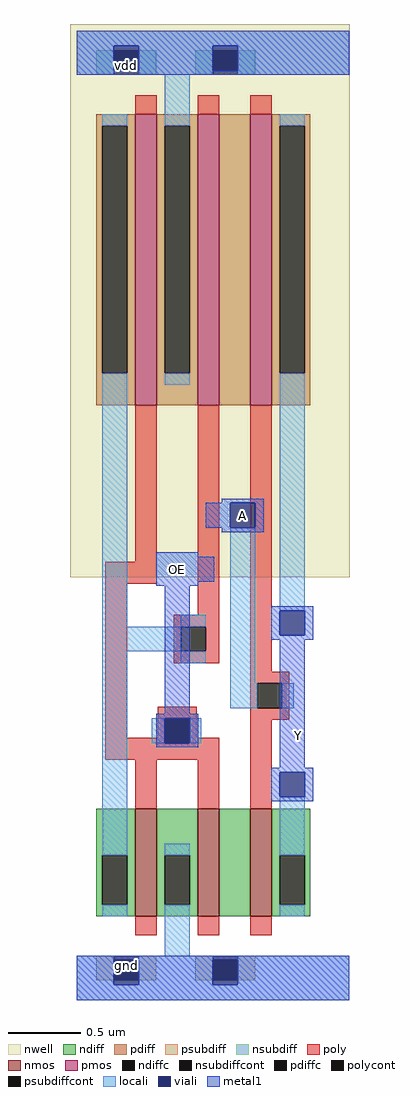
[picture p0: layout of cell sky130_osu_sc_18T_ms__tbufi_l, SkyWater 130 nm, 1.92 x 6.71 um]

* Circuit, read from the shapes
.subckt sky130_osu_sc_18T_ms__tbufi_l Y A OE
XM1 gnd OE n1 gnd sky130_fd_pr__nfet_01v8 w=0.74 l=0.15
XM2 n2 OE gnd gnd sky130_fd_pr__nfet_01v8 w=0.74 l=0.15
XM3 Y A n2 gnd sky130_fd_pr__nfet_01v8 w=0.74 l=0.15
XM4 vdd OE n1 vdd sky130_fd_pr__pfet_01v8 w=2 l=0.15
XM5 n3 n1 vdd vdd sky130_fd_pr__pfet_01v8 w=2 l=0.15
XM6 Y A n3 vdd sky130_fd_pr__pfet_01v8 w=2 l=0.15
.ends

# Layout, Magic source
magic
tech sky130A
magscale 1 2
<< nwell >>
rect -9 581 375 1341
<< nmos >>
rect 80 115 110 263
rect 166 115 196 263
rect 238 115 268 263
<< pmos >>
rect 80 817 110 1217
rect 166 817 196 1217
rect 238 817 268 1217
<< ndiff >>
rect 27 199 80 263
rect 27 131 35 199
rect 69 131 80 199
rect 27 115 80 131
rect 110 199 166 263
rect 110 131 121 199
rect 155 131 166 199
rect 110 115 166 131
rect 196 115 238 263
rect 268 199 321 263
rect 268 131 279 199
rect 313 131 321 199
rect 268 115 321 131
<< pdiff >>
rect 27 1201 80 1217
rect 27 861 35 1201
rect 69 861 80 1201
rect 27 817 80 861
rect 110 1201 166 1217
rect 110 861 121 1201
rect 155 861 166 1201
rect 110 817 166 861
rect 196 817 238 1217
rect 268 1201 321 1217
rect 268 861 279 1201
rect 313 861 321 1201
rect 268 817 321 861
<< ndiffc >>
rect 35 131 69 199
rect 121 131 155 199
rect 279 131 313 199
<< pdiffc >>
rect 35 861 69 1201
rect 121 861 155 1201
rect 279 861 313 1201
<< psubdiff >>
rect 27 27 51 61
rect 85 27 109 61
rect 163 27 187 61
rect 221 27 245 61
<< nsubdiff >>
rect 27 1271 51 1305
rect 85 1271 109 1305
rect 163 1271 187 1305
rect 221 1271 245 1305
<< psubdiffcont >>
rect 51 27 85 61
rect 187 27 221 61
<< nsubdiffcont >>
rect 51 1271 85 1305
rect 187 1271 221 1305
<< poly >>
rect 80 1217 110 1243
rect 166 1217 196 1243
rect 238 1217 268 1243
rect 80 602 110 817
rect 39 572 110 602
rect 39 360 69 572
rect 166 529 196 817
rect 133 513 196 529
rect 133 479 143 513
rect 177 479 196 513
rect 133 463 196 479
rect 238 451 268 817
rect 238 435 292 451
rect 111 387 165 403
rect 111 360 121 387
rect 39 353 121 360
rect 155 360 165 387
rect 238 401 248 435
rect 282 401 292 435
rect 238 385 292 401
rect 155 353 196 360
rect 39 330 196 353
rect 80 263 110 330
rect 166 263 196 330
rect 238 263 268 385
rect 80 89 110 115
rect 166 89 196 115
rect 238 89 268 115
<< polycont >>
rect 143 479 177 513
rect 121 353 155 387
rect 248 401 282 435
<< locali >>
rect 0 1311 374 1332
rect 0 1271 51 1311
rect 85 1271 187 1311
rect 221 1271 374 1311
rect 35 1201 69 1217
rect 35 513 69 861
rect 121 1201 155 1271
rect 121 845 155 861
rect 279 1201 313 1217
rect 143 513 177 529
rect 35 479 143 513
rect 35 199 69 479
rect 143 463 177 479
rect 211 435 245 649
rect 279 535 313 861
rect 211 401 248 435
rect 282 401 298 435
rect 103 353 121 387
rect 155 353 171 387
rect 35 115 69 131
rect 121 199 155 215
rect 121 61 155 131
rect 279 199 313 279
rect 279 115 313 131
rect 0 21 51 61
rect 85 21 187 61
rect 221 21 374 61
rect 0 0 374 21
<< viali >>
rect 51 1305 85 1311
rect 51 1277 85 1305
rect 187 1305 221 1311
rect 187 1277 221 1305
rect 211 649 245 683
rect 279 501 313 535
rect 121 353 155 387
rect 279 279 313 313
rect 51 27 85 55
rect 51 21 85 27
rect 187 27 221 55
rect 187 21 221 27
<< metal1 >>
rect 0 1311 374 1332
rect 0 1277 51 1311
rect 85 1277 187 1311
rect 221 1277 374 1311
rect 0 1271 374 1277
rect 199 683 257 689
rect 177 649 211 683
rect 245 649 257 683
rect 199 643 257 649
rect 109 609 167 615
rect 109 575 189 609
rect 109 569 167 575
rect 121 393 155 569
rect 267 535 325 541
rect 267 501 279 535
rect 313 501 325 535
rect 267 495 325 501
rect 109 387 167 393
rect 109 353 121 387
rect 155 353 167 387
rect 109 347 167 353
rect 279 319 313 495
rect 267 313 325 319
rect 267 279 279 313
rect 313 279 325 313
rect 267 273 325 279
rect 0 55 374 61
rect 0 21 51 55
rect 85 21 187 55
rect 221 21 374 55
rect 0 0 374 21
<< labels >>
rlabel metal1 305 364 305 364 1 Y
port 1 n
rlabel metal1 228 666 228 666 1 A
port 2 n
rlabel metal1 138 592 138 592 1 OE
port 3 n
rlabel viali 68 48 68 48 1 gnd
rlabel viali 68 1284 68 1284 1 vdd
<< end >>
